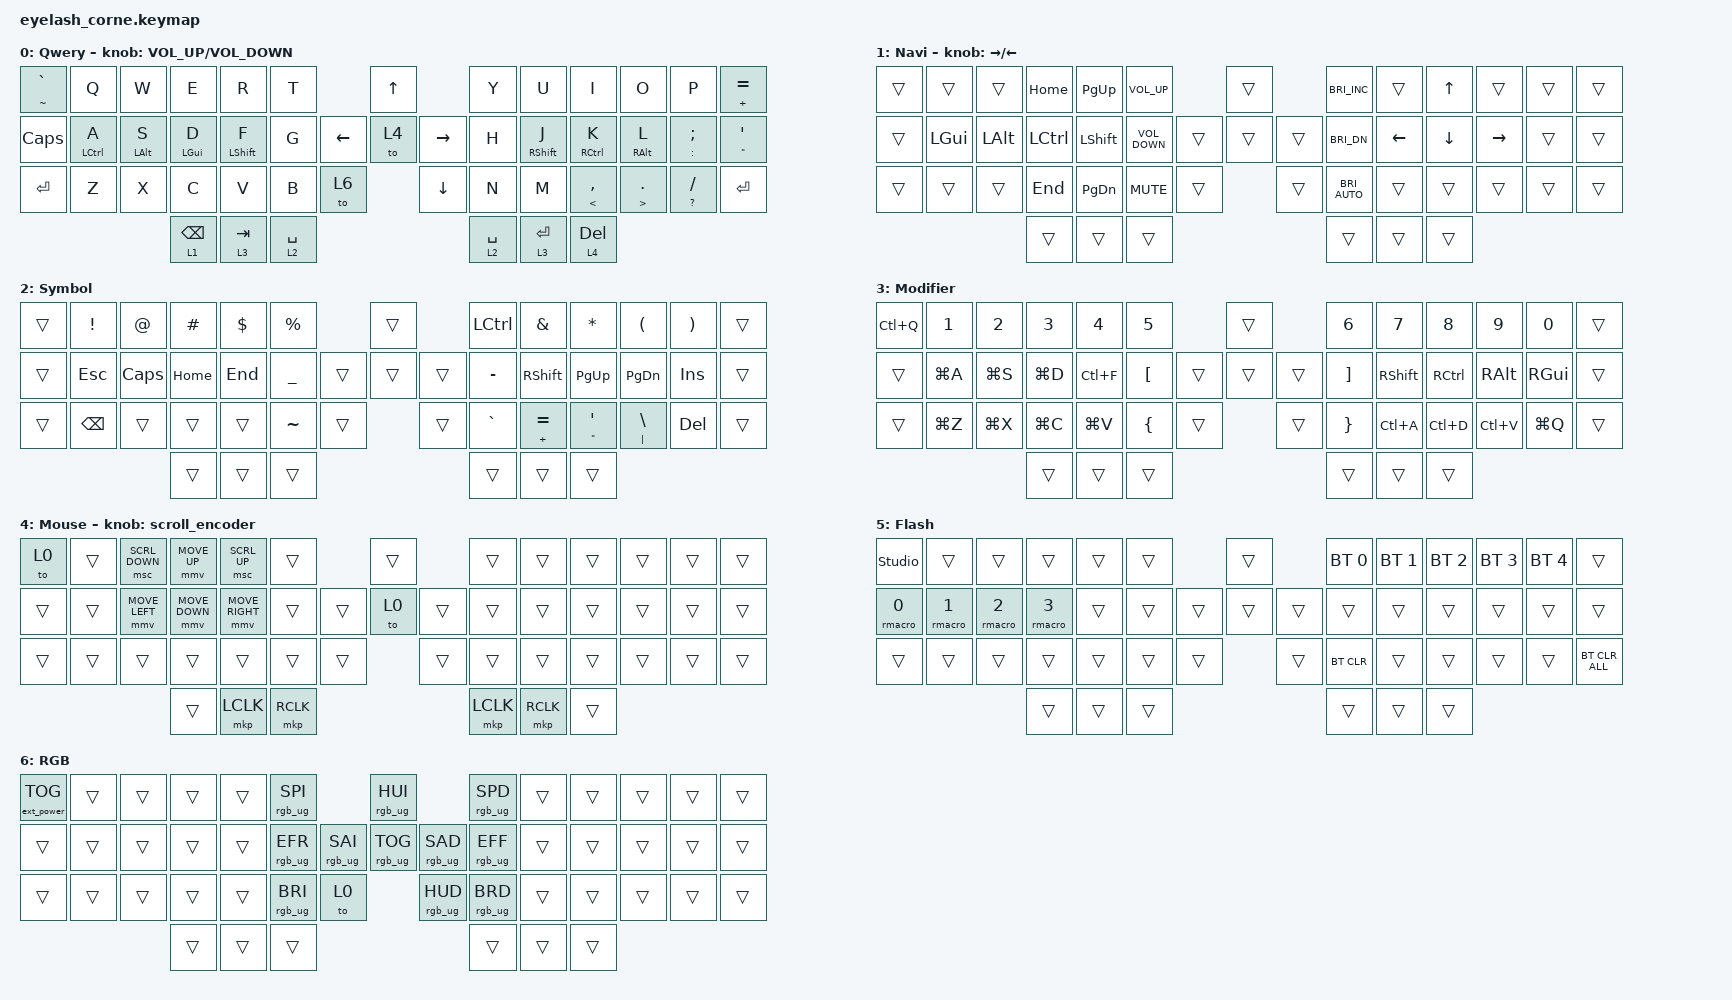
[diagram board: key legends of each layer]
#define ZMK_POINTING_DEFAULT_MOVE_VAL 1500  // 600
#define ZMK_POINTING_DEFAULT_SCRL_VAL 20   // 10

#include <input/processors.dtsi>
#include <zephyr/dt-bindings/input/input-event-codes.h>
#include <behaviors.dtsi>
#include <behaviors/runtime_macro.dtsi>
#include <dt-bindings/zmk/bt.h>
#include <dt-bindings/zmk/ext_power.h>
#include <dt-bindings/zmk/keys.h>
#include <dt-bindings/zmk/pointing.h>
#include <dt-bindings/zmk/rgb.h>

/*&mmv_input_listener { input-processors = <&zip_xy_scaler 2 1>; };*/

&msc_input_listener { input-processors = <&zip_scroll_scaler 2 1>; };

&msc {
    acceleration-exponent = <1>;      // 0
    time-to-max-speed-ms = <40>;       // 300
    delay-ms = <16>;                   // 0
};

&mmv {
    time-to-max-speed-ms = <500>;
    acceleration-exponent = <1>;
    trigger-period-ms = <16>;
};

/ {
    behaviors {
        hml: homerow_mods_left {
            compatible = "zmk,behavior-hold-tap";
            label = "HOMEROW_MODS_LEFT";
            bindings = <&kp>, <&kp>;

            #binding-cells = <2>;
            tapping-term-ms = <200>;
            quick-tap-ms = <180>;
            flavor = "balanced";
            require-prior-idle-ms = <125>;
            hold-trigger-key-positions = <21 22 23>;
            hold-trigger-on-release;
        };

        ltq: ltq {
            compatible = "zmk,behavior-hold-tap";
            label = "LTQ";
            bindings = <&mo>, <&kp>;

            #binding-cells = <2>;
            tapping-term-ms = <200>;
            quick-tap-ms = <180>;
        };

        as: auto_shift {
            compatible = "zmk,behavior-hold-tap";
            label = "AUTO_SHIFT";
            bindings = <&kp>, <&kp>;

            #binding-cells = <2>;
            tapping-term-ms = <140>;
            quick-tap-ms = <0>;
        };

        rgb_encoder: rgb_encoder {
            compatible = "zmk,behavior-sensor-rotate";
            label = "RGB_ENCODER";
            #sensor-binding-cells = <0>;
            bindings = <&rgb_ug RGB_BRI>, <&rgb_ug RGB_BRD>;
        };

        scroll_encoder: scroll_encoder {
            compatible = "zmk,behavior-sensor-rotate";
            #sensor-binding-cells = <0>;
            bindings = <&msc SCRL_UP>, <&msc SCRL_DOWN>;

            tap-ms = <30>;
        };

        hmr: hmr {
            compatible = "zmk,behavior-hold-tap";
            label = "HMR";
            bindings = <&kp>, <&kp>;

            #binding-cells = <2>;
            tapping-term-ms = <200>;
            quick-tap-ms = <180>;
            flavor = "balanced";
            require-prior-idle-ms = <125>;
            hold-trigger-key-positions = <17 16 15 14>;
            hold-trigger-on-release;
        };
    };

    runtime_combo_defaults {
        compatible = "cormoran,runtime-combo-defaults";

        combo_esc {
            slot = <0>;
            bindings = <&kp ESCAPE>;
            key-positions = <0 1>;
            display-name = "Esc";
        };

        combo_left_bkt {
            slot = <1>;
            bindings = <&kp LEFT_BRACKET>;
            key-positions = <3 4>;
            display-name = "Left Bracket";
        };

        combo_right_bkt {
            slot = <2>;
            bindings = <&kp RIGHT_BRACKET>;
            key-positions = <9 8>;
            display-name = "Right Bracket";
        };

        combo_left_par {
            slot = <3>;
            bindings = <&kp LEFT_PARENTHESIS>;
            key-positions = <16 17>;
            display-name = "Left Paren";
        };

        combo_right_par {
            slot = <4>;
            bindings = <&kp RIGHT_PARENTHESIS>;
            key-positions = <24 23>;
            display-name = "Right Paren";
        };

        combo_left_brace {
            slot = <5>;
            bindings = <&kp LEFT_BRACE>;
            key-positions = <31 32>;
            display-name = "Left Brace";
        };

        combo_right_brace {
            slot = <6>;
            bindings = <&kp RIGHT_BRACE>;
            key-positions = <37 38>;
            display-name = "Right Brace";
        };

        combo_bac {
            slot = <7>;
            bindings = <&kp BACKSLASH>;
            key-positions = <5 7>;
            display-name = "Backslash";
        };

        combo_pipe {
            slot = <8>;
            bindings = <&kp PIPE>;
            key-positions = <18 22>;
            display-name = "Pipe";
        };

        combo_flash {
            slot = <9>;
            bindings = <&bootloader>;
            key-positions = <12 0>;
            layers = <5>;
            display-name = "Bootloader";
        };
    };

    keymap {
        compatible = "zmk,keymap";

        Qwery {
            label = "Qwery";
            display-name = "Qwery";
            bindings = <
&as TILDE GRAVE  &kp Q                &kp W            &kp E             &kp R              &kp T                                  &kp UP_ARROW                     &kp Y         &kp U               &kp I                 &kp O                    &kp P                &as PLUS EQUAL
&kp CAPSLOCK     &hml LEFT_CONTROL A  &hml LEFT_ALT S  &hml LEFT_GUI D   &hml LEFT_SHIFT F  &kp G                  &kp LEFT_ARROW  &to 4           &kp RIGHT_ARROW  &kp H         &hmr RIGHT_SHIFT J  &hmr RIGHT_CONTROL K  &hmr RIGHT_ALT L         &as COLON SEMICOLON  &as DOUBLE_QUOTES SINGLE_QUOTE
&kp ENTER        &kp Z                &kp X            &kp C             &kp V              &kp B         &to 6                    &kp DOWN_ARROW                   &kp N         &kp M               &as LESS_THAN COMMA   &as GREATER_THAN PERIOD  &as QUESTION SLASH   &kp ENTER
                                                       &ltq 1 BACKSPACE  &ltq 3 TAB         &ltq 2 SPACE                                                            &ltq 2 SPACE  &ltq 3 ENTER        &ltq 4 DELETE
            >;

            sensor-bindings = <&inc_dec_kp C_VOLUME_UP C_VOLUME_DOWN>;
        };

        Navi {
            label = "Navi";
            display-name = "Navi";
            bindings = <
&trans  &trans        &trans        &kp HOME          &kp PAGE_UP     &kp C_VOLUME_UP                      &trans          &kp C_BRIGHTNESS_INC  &trans          &kp UP_ARROW    &trans           &trans  &trans
&trans  &kp LEFT_GUI  &kp LEFT_ALT  &kp LEFT_CONTROL  &kp LEFT_SHIFT  &kp C_VOLUME_DOWN            &trans  &trans  &trans  &kp C_BRI_DN          &kp LEFT_ARROW  &kp DOWN_ARROW  &kp RIGHT_ARROW  &trans  &trans
&trans  &trans        &trans        &kp END           &kp PAGE_DOWN   &kp K_MUTE         &trans            &trans          &kp C_BRI_AUTO        &trans          &trans          &trans           &trans  &trans
                                    &trans            &trans          &trans                                               &trans                &trans          &trans
            >;

            sensor-bindings = <&inc_dec_kp RIGHT_ARROW LEFT_ARROW>;
        };

        Symbol {
            label = "Symbol";
            display-name = "Symbol";
            bindings = <
&trans  &kp EXCLAMATION  &kp AT_SIGN   &kp HASH  &kp DOLLAR  &kp PERCENT                       &trans          &kp LCTRL  &kp AMPERSAND    &kp ASTERISK                    &kp LEFT_PARENTHESIS  &kp RIGHT_PARENTHESIS  &trans
&trans  &kp ESCAPE       &kp CAPSLOCK  &kp HOME  &kp END     &kp UNDERSCORE            &trans  &trans  &trans  &kp MINUS  &kp RIGHT_SHIFT  &kp PAGE_UP                     &kp PAGE_DOWN         &kp INSERT             &trans
&trans  &kp BACKSPACE    &trans        &trans    &trans      &kp TILDE       &trans            &trans          &kp GRAVE  &as PLUS EQUAL   &as DOUBLE_QUOTES SINGLE_QUOTE  &as PIPE BACKSLASH    &kp DELETE             &trans
                                       &trans    &trans      &trans                                            &trans     &trans           &trans
            >;
        };

        Modifier {
            label = "Modifier";
            display-name = "Modifier";
            bindings = <
&kp LC(Q)  &kp NUMBER_1  &kp NUMBER_2  &kp NUMBER_3  &kp NUMBER_4  &kp NUMBER_5                        &trans          &kp NUMBER_6       &kp NUMBER_7     &kp NUMBER_8       &kp NUMBER_9   &kp NUMBER_0   &trans
&trans     &kp LG(A)     &kp LG(S)     &kp LG(D)     &kp LC(F)     &kp LEFT_BRACKET            &trans  &trans  &trans  &kp RIGHT_BRACKET  &kp RIGHT_SHIFT  &kp RIGHT_CONTROL  &kp RIGHT_ALT  &kp RIGHT_GUI  &trans
&trans     &kp LG(Z)     &kp LG(X)     &kp LG(C)     &kp LG(V)     &kp LEFT_BRACE    &trans            &trans          &kp RIGHT_BRACE    &kp LC(A)        &kp LC(D)          &kp LC(V)      &kp LG(Q)      &trans
                                       &trans        &trans        &trans                                              &trans             &trans           &trans
            >;
        };

        Mouse {
            label = "Mouse";
            display-name = "Mouse";
            bindings = <
&to 0   &trans  &msc SCRL_DOWN  &mmv MOVE_UP    &msc SCRL_UP     &trans                       &trans          &trans     &trans     &trans  &trans  &trans  &trans
&trans  &trans  &mmv MOVE_LEFT  &mmv MOVE_DOWN  &mmv MOVE_RIGHT  &trans               &trans  &to 0   &trans  &trans     &trans     &trans  &trans  &trans  &trans
&trans  &trans  &trans          &trans          &trans           &trans     &trans            &trans          &trans     &trans     &trans  &trans  &trans  &trans
                                &trans          &mkp LCLK        &mkp RCLK                                    &mkp LCLK  &mkp RCLK  &trans
            >;

            sensor-bindings = <&scroll_encoder>;
        };

        Flash {
            bindings = <
&studio_unlock  &trans  &trans  &trans  &trans  &trans                    &trans          &bt BT_SEL 0  &bt BT_SEL 1  &bt BT_SEL 2  &bt BT_SEL 3  &bt BT_SEL 4  &trans
&rmacro 0       &rmacro 1  &rmacro 2  &rmacro 3  &trans  &trans            &trans  &trans  &trans  &trans        &trans        &trans        &trans        &trans        &trans
&trans          &trans  &trans  &trans  &trans  &trans  &trans            &trans          &bt BT_CLR    &trans        &trans        &trans        &trans        &bt BT_CLR_ALL
                                &trans  &trans  &trans                                    &trans        &trans        &trans
            >;

            label = "Flash";
            display-name = "Flash";
        };

        RGB {
            bindings = <
&ext_power EP_TOG  &trans  &trans  &trans  &trans  &rgb_ug RGB_SPI                            &rgb_ug RGB_HUI                   &rgb_ug RGB_SPD  &trans  &trans  &trans  &trans  &trans
&trans             &trans  &trans  &trans  &trans  &rgb_ug RGB_EFR           &rgb_ug RGB_SAI  &rgb_ug RGB_TOG  &rgb_ug RGB_SAD  &rgb_ug RGB_EFF  &trans  &trans  &trans  &trans  &trans
&trans             &trans  &trans  &trans  &trans  &rgb_ug RGB_BRI  &to 0                     &rgb_ug RGB_HUD                   &rgb_ug RGB_BRD  &trans  &trans  &trans  &trans  &trans
                                   &trans  &trans  &trans                                                                       &trans           &trans  &trans
            >;

            label = "RGB";
            display-name = "RGB";
        };
    };

    conditional_layers {
        compatible = "zmk,conditional-layers";

        Flash {
            if-layers = <2 3>;
            then-layer = <5>;
        };
    };
};
